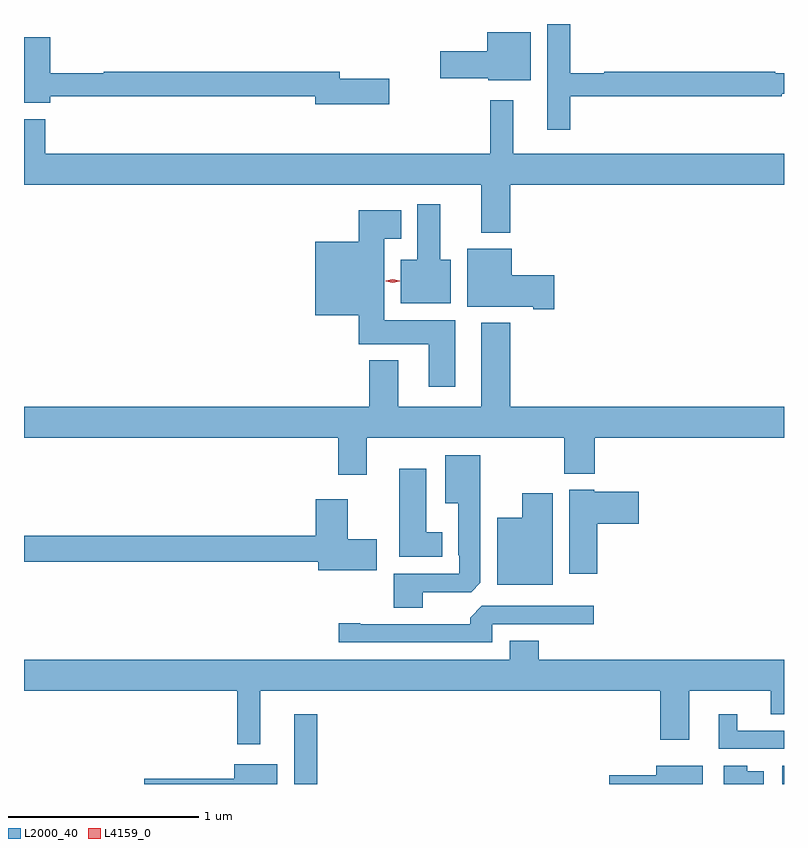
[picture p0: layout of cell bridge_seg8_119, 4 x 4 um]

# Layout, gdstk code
import gdstk
lib = gdstk.Library(unit=1e-6, precision=1e-09)
def R(c, l, rs):  # rectangles x0, y0, x1, y1
    for r in rs: c.add(gdstk.rectangle(r[:2], r[2:], *l))
def P(c, l, *ps):  # polygons
    for p in ps: c.add(gdstk.Polygon(p, *l))
L2000_40 = (2000, 40)
L4159_0 = (4159, 0)

bridge_seg8_119 = lib.new_cell('bridge_seg8_119')
R(bridge_seg8_119, L2000_40, [(845.663,1159.966,845.785,1160.332), (848.231,1159.966,848.241,1160.062)])
P(bridge_seg8_119, L2000_40, [(847.117,1163.586),(848.228,1163.586),(848.228,1163.598),(848.241,1163.598),(848.241,1163.707),(848.195,1163.707),(848.195,1163.714),(847.295,1163.714),(847.295,1163.707),(847.117,1163.707),(847.117,1163.966),(846.995,1163.966),(846.995,1163.409),(847.117,1163.409)],
  [(846.907,1163.923),(846.68,1163.923),(846.68,1163.822),(846.432,1163.822),(846.432,1163.68),(846.684,1163.68),(846.684,1163.669),(846.907,1163.669)],
  [(846.163,1163.678),(845.902,1163.678),(845.902,1163.714),(844.662,1163.714),(844.662,1163.707),(844.379,1163.707),(844.379,1163.897),(844.241,1163.897),(844.241,1163.551),(844.379,1163.551),(844.379,1163.586),(845.774,1163.586),(845.774,1163.543),(846.163,1163.543)],
  [(846.8,1163.12),(848.241,1163.12),(848.241,1163.284),(846.817,1163.284),(846.817,1163.566),(846.696,1163.566),(846.696,1163.284),(844.352,1163.284),(844.352,1163.466),(844.241,1163.466),(844.241,1163.12),(846.647,1163.12),(846.647,1162.868),(846.8,1162.868)],
  [(846.487,1162.726),(846.433,1162.726),(846.433,1163.017),(846.311,1163.017),(846.311,1162.726),(846.224,1162.726),(846.224,1162.496),(846.487,1162.496)],
  [(846.511,1162.408),(846.136,1162.408),(846.136,1162.835),(846.226,1162.835),(846.226,1162.987),(846.002,1162.987),(846.002,1162.819),(845.774,1162.819),(845.774,1162.433),(846.002,1162.433),(846.002,1162.28),(846.371,1162.28),(846.371,1162.056),(846.511,1162.056)],
  [(847.033,1162.644),(846.808,1162.644),(846.808,1162.783),(846.575,1162.783),(846.575,1162.478),(846.92,1162.478),(846.92,1162.466),(847.033,1162.466)],
  [(846.647,1162.393),(846.647,1161.952),(846.211,1161.952),(846.211,1162.195),(846.059,1162.195),(846.059,1161.952),(844.241,1161.952),(844.241,1161.788),(845.894,1161.788),(845.894,1161.594),(846.046,1161.594),(846.046,1161.788),(847.084,1161.788),(847.084,1161.599),(847.244,1161.599),(847.244,1161.788),(848.241,1161.788),(848.241,1161.952),(846.8,1161.952),(846.8,1162.393)],
  [(846.34,1160.976),(846.594,1160.976),(846.643,1161.025),(846.643,1161.697),(846.458,1161.697),(846.458,1161.443),(846.527,1161.443),(846.527,1161.169),(846.531,1161.169),(846.531,1161.072),(846.188,1161.072),(846.188,1160.893),(846.34,1160.893)],
  [(846.442,1161.292),(846.358,1161.292),(846.358,1161.625),(846.215,1161.625),(846.215,1161.161),(846.442,1161.161)],
  [(847.259,1161.335),(847.477,1161.335),(847.477,1161.505),(847.242,1161.505),(847.242,1161.514),(847.112,1161.514),(847.112,1161.072),(847.259,1161.072)],
  [(847.024,1161.496),(846.863,1161.496),(846.863,1161.367),(846.731,1161.367),(846.731,1161.014),(847.024,1161.014)],
  [(846.097,1161.255),(845.944,1161.255),(845.944,1161.466),(845.777,1161.466),(845.777,1161.272),(844.241,1161.272),(844.241,1161.136),(845.789,1161.136),(845.789,1161.092),(846.097,1161.092)],
  [(846.705,1160.808),(847.24,1160.808),(847.24,1160.904),(846.651,1160.904),(846.59,1160.842),(846.59,1160.808),(846.01,1160.808),(846.01,1160.813),(845.898,1160.813),(845.898,1160.712),(846.705,1160.712)],
  [(845.485,1160.456),(847.589,1160.456),(847.589,1160.199),(847.741,1160.199),(847.741,1160.456),(848.171,1160.456),(848.171,1160.332),(848.241,1160.332),(848.241,1160.62),(846.95,1160.62),(846.95,1160.719),(846.797,1160.719),(846.797,1160.62),(844.241,1160.62),(844.241,1160.456),(845.364,1160.456),(845.364,1160.175),(845.485,1160.175)],
  [(848.241,1160.247),(847.996,1160.247),(847.996,1160.332),(847.898,1160.332),(847.898,1160.151),(848.241,1160.151)],
  [(845.575,1160.071),(845.348,1160.071),(845.348,1159.993),(844.874,1159.993),(844.874,1159.966),(845.575,1159.966)],
  [(848.134,1160.032),(848.047,1160.032),(848.047,1160.062),(847.925,1160.062),(847.925,1159.966),(848.134,1159.966)],
  [(847.813,1160.062),(847.568,1160.062),(847.568,1160.013),(847.32,1160.013),(847.32,1159.966),(847.813,1159.966)])
P(bridge_seg8_119, L4159_0, [(846.181,1162.603),(846.144,1162.613),(846.144,1162.613),(846.144,1162.614),(846.181,1162.623),(846.218,1162.614),(846.218,1162.613),(846.218,1162.613)])

lib.write_gds('bridge_seg8_119.gds')
